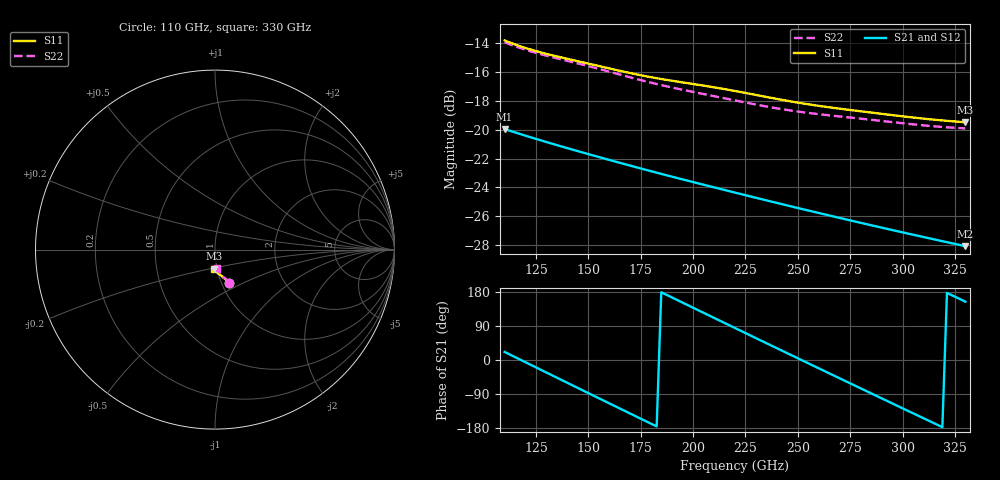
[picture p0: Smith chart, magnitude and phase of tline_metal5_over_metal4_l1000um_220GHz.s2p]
#  GHZ S DB R 50
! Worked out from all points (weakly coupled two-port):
!   101 points, 110 GHz to 330 GHz, reference 50 ohm
!   highest |S21| = -19.97 dB at 110 GHz (marker M1); lowest = -28.0 dB at 330 GHz (marker M2)
!   lowest |S11| = -19.5 dB at 330 GHz (marker M3), VSWR 1.24, Z = 48.5 - j10.4 ohm
!   |S11| at or under -10 dB: start of sweep to end of sweep
!   |S22| runs from -19.9 to -14.0 dB; largest |S21 - S12| = 1.1e-13
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110  -13.85 -67.4  -19.97 21.2  -19.97 21.2  -13.98 -66.9
116.6  -14.21 -68.1  -20.27 3.2  -20.27 3.2  -14.33 -67.5
125.4  -14.60 -68.9  -20.66 -20.7  -20.66 -20.7  -14.73 -68.3
136.4  -15.00 -70.1  -21.14 -50.6  -21.14 -50.6  -15.14 -69.7
147.4  -15.37 -71.7  -21.59 -80.4  -21.59 -80.4  -15.53 -71.4
156.2  -15.66 -73.0  -21.95 -104.2  -21.95 -104.2  -15.86 -72.8
167.2  -16.02 -74.5  -22.38 -133.9  -22.38 -133.9  -16.29 -74.4
176  -16.28 -75.6  -22.72 -157.6  -22.72 -157.6  -16.63 -75.4
184.8  -16.51 -76.6  -23.06 178.7  -23.06 178.7  -16.93 -76.2
193.6  -16.72 -77.7  -23.39 155.1  -23.39 155.1  -17.21 -77.1
204.6  -16.96 -79.4  -23.79 125.6  -23.79 125.6  -17.54 -78.1
211.2  -17.12 -80.4  -24.03 107.9  -24.03 107.9  -17.73 -78.7
220  -17.34 -81.8  -24.35 84.4  -24.35 84.4  -17.99 -79.5
228.8  -17.58 -83.1  -24.67 60.9  -24.67 60.9  -18.24 -80.1
239.8  -17.88 -84.5  -25.06 31.6  -25.06 31.6  -18.53 -80.7
248.6  -18.11 -85.3  -25.37 8.2  -25.37 8.2  -18.73 -81.0
257.4  -18.31 -86.1  -25.67 -15.1  -25.67 -15.1  -18.90 -81.4
268.4  -18.53 -87.1  -26.05 -44.2  -26.05 -44.2  -19.07 -81.9
277.2  -18.69 -87.9  -26.34 -67.4  -26.34 -67.4  -19.21 -82.5
294.8  -19.00 -89.5  -26.93 -113.8  -26.93 -113.8  -19.48 -83.6
312.4  -19.28 -90.8  -27.50 -160.0  -27.50 -160.0  -19.74 -84.4
330  -19.50 -92.1  -28.05 154.0  -28.05 154.0  -19.92 -84.9
